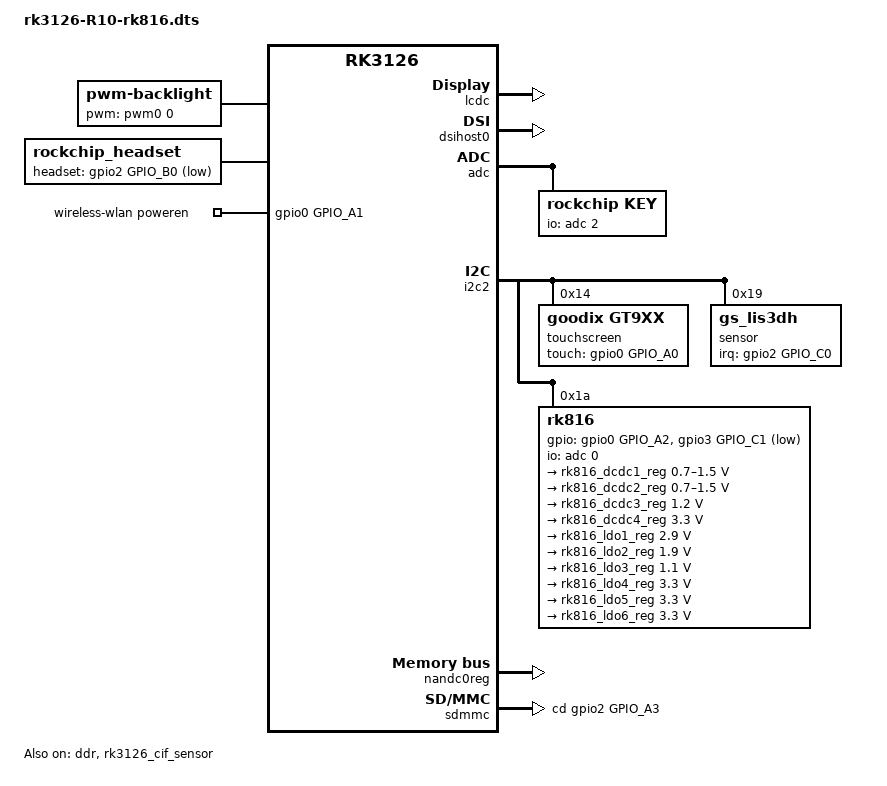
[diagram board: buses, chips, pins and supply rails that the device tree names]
/dts-v1/;


#include "rk3126.dtsi"
#include "rk3126-cif-sensor.dtsi"
#include "rk312x-sdk.dtsi"
#include "lcd-sat10inch800x1280_mipi.dtsi"

/ {
	compatible = "rockchip,rk3126";
	backlight: backlight {
		compatible = "pwm-backlight";
		pwms = <&pwm0 0 25000>;
		brightness-levels = <0 1 2 3 4 5 6 7 8 9 10 11 12 13 14 15 16 17 18 19 20
		21 22 23 24 25 26 27 28 29 30 31 32 33 34 35 36 37 38 39 40 41 42 43 44 45
		46 47 48 49 50 51 52 53 54 55 56 57 58 59 60 61 62 63 64 65 66 67 68 69 70
		71 72 73 74 75 76 77 78 79 80 81 82 83 84 85 86 87 88 89 90 91 92 93 94 95
		96 97 98 99 100 101 102 103 104 105 106 107 108 109 110 111 112 113 114 115
		116 117 118 119 120 121 122 123 124 125 126 127 128 129 130 131 132 133 134
		135 136 137 138 139 140 141 142 143 144 145 146 147 148 149 150 151 152 153
		154 155 156 157 158 159 160 161 162 163 164 165 166 167 168 169 170 171 172
		173 174 175 176 177 178 179 180 181 182 183 184 185 186 187 188 189 190 191
		192 193 194 195 196 197 198 199 200 201 202 203 204 205 206 207 208 209 210
		211 212 213 214 215 216 217 218 219 220 221 222 223 224 225 226 227 228 229
		230 231 232 233 234 235 236 237 238 239 240 241 242 243 244 245 246 247 248
		249 250 251 252 253 254 255>;

		default-brightness-level = <128>;
	};

	usb_control {
		compatible = "rockchip,rk3126-usb-control";

		rockchip,remote_wakeup;
		rockchip,usb_irq_wakeup;
	};

	rockchip_headset {
		compatible = "rockchip_headset";
		headset_gpio = <&gpio2 GPIO_B0 GPIO_ACTIVE_LOW>;
	};

	wireless-wlan {
		compatible = "wlan-platdata";

		/* wifi_chip_type - wifi chip define
		 * ap6210, ap6330, ap6335
		 * rtl8188eu, rtl8723bs, rtl8723bu
		 * esp8089
		 */
		wifi_chip_type = "ssv6051";
		sdio_vref = <3300>; //1800mv or 3300mv

		WIFI,poweren_gpio = <&gpio0 GPIO_A1 GPIO_ACTIVE_HIGH>;

		status = "okay";
	};

	rockchip_suspend: rockchip_suspend {
		rockchip,ctrbits = <
			(0
			|RKPM_CTR_PWR_DMNS
			|RKPM_CTR_GTCLKS
			|RKPM_CTR_PLLS
			|RKPM_CTR_ARMOFF_LPMD
			|RKPM_CTR_IDLESRAM_MD
			|RKPM_CTR_DDR
			//|RKPM_CTR_VOLTS
			|RKPM_CTR_BUS_IDLE
			//|RKPM_CTR_VOL_PWM1
			)
			>;
		rockchip,pmic-suspend_gpios = <GPIO3_C1>;
	};

	chosen {
		bootargs = "psci=enable vmalloc=496M rockchip_jtag";
	};
};

&ddr {
	status = "okay";
};

&vd_arm {
	pd_core {
		clk_core {
			operating-points = <
				/* KHz    uV */
				//216000 1050000
				//408000 1050000
				600000 1200000
				696000 1250000
				816000 1300000
				1008000 1350000
				1200000 1425000
				>;
			virt-temp-limit-1-cpu-busy = <
			/* target-temp	limit-freq */
				75	1008000
				85	1200000
				95	1200000
				100	1200000
				>;
			virt-temp-limit-2-cpu-busy = <
			/* target-temp	limit-freq */
				75	912000
				85	1008000
				95	1104000
				100	1200000
				>;
			virt-temp-limit-3-cpu-busy = <
			/* target-temp	limit-freq */
				75	816000
				85	912000
				95	1008000
				100	1104000
				>;
			virt-temp-limit-4-cpu-busy = <
			/* target-temp	limit-freq */
				75	816000
				85	912000
				95	1008000
				100	1104000
				>;
			temp-limit-enable = <1>;
			target-temp = <85>;
			status = "okay";
		};
	};
};

&vd_logic {
	pd_ddr {
		clk_ddr {
			operating-points = <
				/* KHz    uV */
				200000 1350000
				300000 1350000
				400000 1350000
				533000 1350000
				>;

			freq-table = <
				/*status		freq(KHz)*/
				SYS_STATUS_NORMAL	400000
				SYS_STATUS_SUSPEND	400000
				//SYS_STATUS_VIDEO_1080P  240000
				//SYS_STATUS_VIDEO_4K     400000
				//SYS_STATUS_PERFORMANCE  533000
				//SYS_STATUS_DUALVIEW	400000
				//SYS_STATUS_BOOST	324000
				//SYS_STATUS_ISP		533000
				>;
			auto-freq-table = <
				240000
				324000
				396000
				//528000
				>;
			auto-freq=<0>;
			status="okay";
		};
	};
	pd_gpu {
		clk_gpu {
			operating-points = <
				/* KHz    uV */
				200000 1050000
				300000 1100000
				400000 1150000
				480000 1250000
				>;
				status = "okay";
		};
	};
};

&pwm_regulator1 {
	status = "disabled";
};

&pwm1 {
	status = "disabled";
};

&fb {
	rockchip,disp-mode = <NO_DUAL>;
	rockchip,uboot-logo-on = <1>;
};

&rk_screen {
	display-timings = <&disp_timings>;
};

&lcdc {
	status = "okay";

	backlight = <&backlight>;
	pinctrl-names = "den", "sync";
	pinctrl-0 = <&lcdc0_den>;
	pinctrl-1 = <&lcdc0_sync>;

	rockchip,fb-win-map = <FB_DEFAULT_ORDER>;
	rockchip,ttl-sync-mode = <TTL_DEN_MODE>;

	power_ctr: power_ctr {
		rockchip,debug = <0>;
		lcd_en: lcd_en {
			rockchip,power_type = <REGULATOR>;
			rockchip,regulator_name = "rk816_ldo6";
			rockchip,regulator_voltage = <0>;
			rockchip,delay = <10>;
			rockchip,ldo_reverse = <1>;
		};
	};
};

&dsihost0{
	status = "okay";
};

&hdmi {
	status = "disabled";
};

&adc {
	status = "okay";

	key: key {
		compatible = "rockchip,key";
		io-channels = <&adc 2>;

		/delete-node/ menu-key;
		/delete-node/ home-key;
		/delete-node/ back-key;
		/delete-node/ power-key;

		vol-up-key {
			linux,code = <115>;
			label = "volume up";
			rockchip,adc_value = <1>;
		};

		vol-down-key {
			linux,code = <114>;
			label = "volume down";
			rockchip,adc_value = <512>;
		};
	};

	adc-battery {
		status = "disabled";
		compatible = "rk30-adc-battery";
	};
};

&i2c0 {
	status = "disabled";
};

&i2c1 {
	status = "disabled";
};

&i2c2 {
	status = "okay";

	rockchip,bus-recovery = <1>;

	touchscreen@14 {
		compatible = "goodix,gt9xx";
		reg = <0x14>;
		touch-gpio = <&gpio0 GPIO_A0 IRQ_TYPE_LEVEL_LOW>;
		max-x = <1280>;
		max-y = <800>;
		tp-size = <10>;
		status = "okay";
	};

	sensor@19 {
		compatible = "gs_lis3dh";
		reg = <0x19>;
		type = <SENSOR_TYPE_ACCEL>;
		irq-gpio = <&gpio2 GPIO_C0 IRQ_TYPE_LEVEL_LOW>;
		irq_enable = <1>;
		poll_delay_ms = <30>;
		layout = <7>;
		status = "okay";
	};

	rk816: rk816@1a {
		reg = <0x1a>;
		status = "okay";
	};
};

&nandc {
	status = "disabled"; // used nand set "okay" ,used emmc set "disabled"
};

&nandc0reg {
	status = "okay"; // used nand set "disabled" ,used emmc set "okay"
};

&sdmmc {
	cd-gpios = <&gpio2 GPIO_A3 GPIO_ACTIVE_HIGH>; /* CD GPIO */
	status = "okay";
};

&uart2 {
	status = "disabled";
};

&codec {
	spk_ctl_io = <&gpio2 GPIO_B1 GPIO_ACTIVE_HIGH>;
	spk-mute-delay = <200>;
	hp-mute-delay = <100>;
	rk312x_for_mid = <1>;
	is_rk3128 = <0>;
	spk_volume = <24>;
	hp_volume = <24>;
	capture_volume = <22>;
	gpio_debug = <0>;
	codec_hp_det = <0>;
};

&dwc_control_usb {
	usb_uart {
		status = "disabled";
	};
};

&rk3126_cif_sensor{
	status = "okay";

	sp0a19 {
	       status = "okay";
	};

	sp2519 {
	       status = "okay";
	};
};

&gmac {
	status = "disabled";
};

&rk818 {
	test-power {
		status = "disabled";
	};
};

&pinctrl {
	init-gpios = <&gpio1 GPIO_C1 0>;

	gpio0_gpio {
		gpio0_a0: gpio0-a0 {
			rockchip,pins = <GPIO0_A0>;
			rockchip,pull = <VALUE_PULL_UP>;
		};
	};
};

/include/ "rk816.dtsi"
&rk816 {
	gpios = <&gpio0 GPIO_A2 GPIO_ACTIVE_HIGH>,
			<&gpio3 GPIO_C1 GPIO_ACTIVE_LOW>;
	rk816,system-power-controller;
	rk816,support_dc_chg = <0>;/*1: dc chg; 0:usb chg*/
	io-channels = <&adc 0>;
	gpio-controller;
	#gpio-cells = <2>;
	rtc {
		status = "okay";
	};

	regulators {
		rk816_dcdc1_reg: regulator@0{
			regulator-name= "vdd_arm";
			regulator-min-microvolt = <700000>;
			regulator-max-microvolt = <1500000>;
			regulator-initial-mode = <0x2>;
			regulator-initial-state = <3>;
			regulator-always-on;
			regulator-state-mem {
				regulator-state-mode = <0x2>;
				regulator-state-disabled;
				regulator-state-uv = <900000>;
			};
		};

		rk816_dcdc2_reg: regulator@1 {
			regulator-name= "vdd_logic";
			regulator-min-microvolt = <700000>;
			regulator-max-microvolt = <1500000>;
			regulator-initial-mode = <0x2>;
			regulator-initial-state = <3>;
			regulator-always-on;
			regulator-state-mem {
				regulator-state-mode = <0x2>;
				regulator-state-enabled;
				regulator-state-uv = <1000000>;
			};
		};

		rk816_dcdc3_reg: regulator@2 {
			regulator-name= "rk816_dcdc3";
			regulator-min-microvolt = <1200000>;
			regulator-max-microvolt = <1200000>;
			regulator-initial-mode = <0x2>;
			regulator-initial-state = <3>;
			regulator-always-on;
			regulator-state-mem {
				regulator-state-mode = <0x2>;
				regulator-state-enabled;
				regulator-state-uv = <1200000>;
			};
		};

		rk816_dcdc4_reg: regulator@3 {
			regulator-name= "vccio";
			regulator-min-microvolt = <3300000>;
			regulator-max-microvolt = <3300000>;
			regulator-initial-mode = <0x1>;/*fast mode*/
			regulator-initial-state = <3>;
			regulator-always-on;
			regulator-state-mem {
				regulator-state-mode = <0x2>;
				regulator-state-enabled;
				regulator-state-uv = <3000000>;
			};
		};

		rk816_ldo1_reg: regulator@4 {
			regulator-name= "rk816_ldo1";
			regulator-min-microvolt = <2900000>;
			regulator-max-microvolt = <2900000>;
			regulator-initial-state = <3>;
			regulator-always-on;
			regulator-state-mem {
				regulator-state-disabled;
				regulator-state-uv = <2900000>;
			};
		};

		rk816_ldo2_reg: regulator@5 {
			regulator-name= "rk816_ldo2";
			regulator-min-microvolt = <1900000>;
			regulator-max-microvolt = <1900000>;
			regulator-initial-state = <3>;
			regulator-always-on;
			regulator-state-mem {
				regulator-state-disabled;
				regulator-state-uv = <1900000>;
			};
		};

		rk816_ldo3_reg: regulator@6 {
			regulator-name= "rk816_ldo3";
			regulator-min-microvolt = <1100000>;
			regulator-max-microvolt = <1100000>;
			regulator-initial-state = <3>;
			regulator-always-on;
			regulator-state-mem {
				regulator-state-enabled;
				regulator-state-uv = <1100000>;
			};
		};

		rk816_ldo4_reg:regulator@7 {
			regulator-name= "rk816_ldo4";
			regulator-min-microvolt = <3300000>;
			regulator-max-microvolt = <3300000>;
			regulator-initial-state = <3>;
			regulator-always-on;
			regulator-state-mem {
				regulator-state-disabled;
				regulator-state-uv = <3300000>;
			};
		};

		rk816_ldo5_reg: regulator@8 {
			regulator-name= "rk816_ldo5";
			regulator-min-microvolt = <3300000>;
			regulator-max-microvolt = <3300000>;
			regulator-initial-state = <3>;
			regulator-always-on;
			/delete-property/ regulator-boot-on;
			regulator-state-mem {
				regulator-state-disabled;
				regulator-state-uv = <3000000>;
			};
		};

		rk816_ldo6_reg: regulator@9 {
			regulator-name= "rk816_ldo6";
			regulator-min-microvolt = <3300000>;
			regulator-max-microvolt = <3300000>;
			regulator-initial-state = <3>;
			/delete-property/ regulator-always-on;
			/delete-property/ regulator-boot-on;
			regulator-state-mem {
				regulator-state-enabled;
				regulator-state-uv = <3300000>;
			};
		};
	};

	battery {
			compatible = "rk816-battery";
			ocv_table = < 3400 3654 3686 3710 3744 3775 3803
				3825 3843 3858 3870 3886 3916 3955
				3988 4010 4023 4032 4049 4080 4151>;
			design_capacity = <2000>;
			design_qmax = <2200>;
			bat_res = <120>;
			max_input_current = <2000>;
			max_chrg_current = <1000>;
			max_chrg_voltage = <4200>;
			sleep_enter_current = <300>;
			sleep_exit_current = <300>;
			sleep_filter_current = <100>;
			power_off_thresd = <3500>;
			zero_algorithm_vol = <3800>;
			max_soc_offset = <60>;
			monitor_sec = <5>;
			virtual_power = <0>;
			power_dc2otg = <0>;
		};

	gpio {
		compatible = "rk816-gpio";
	};
};
